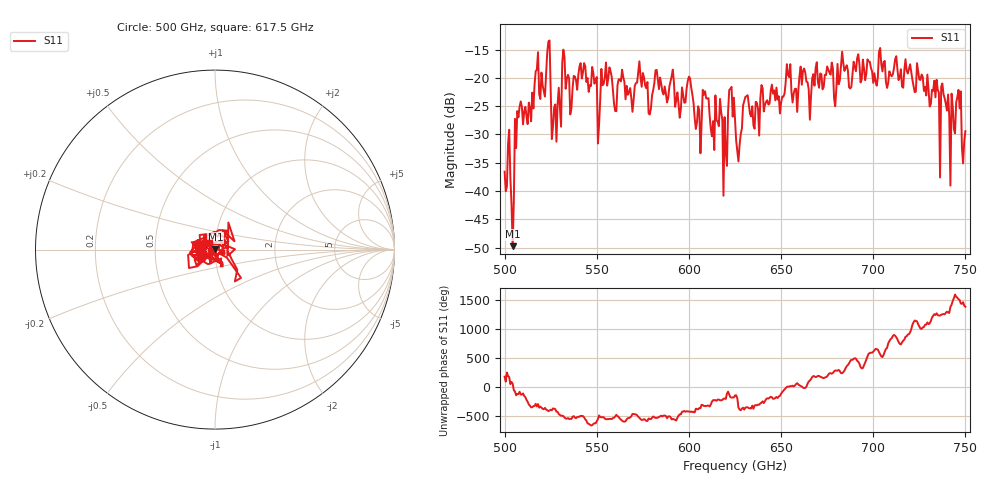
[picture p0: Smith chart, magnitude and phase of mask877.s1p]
!Created with skrf (http://scikit-rf.org).
# GHz S MA R 50.0
!freq magS11 angS11
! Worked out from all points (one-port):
!   401 points, 500 GHz to 750 GHz, reference 50 ohm
!   lowest |S11| = -49.7 dB at 504.4 GHz (marker M1), VSWR 1.01, Z = 50.2 + j0.275 ohm
!   |S11| at or under -10 dB: start of sweep to end of sweep
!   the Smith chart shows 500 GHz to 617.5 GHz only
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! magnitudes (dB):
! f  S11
! 500 GHz  -36.6
! 504.4 GHz  -49.7
! 508.1 GHz  -25.1
! 523.8 GHz  -13.6
! 526.9 GHz  -25.2
! 531.2 GHz  -17.4
! 548.8 GHz  -21.0
! 550.6 GHz  -31.6
! 553.8 GHz  -21.1
! 562.5 GHz  -20.3
! 579.4 GHz  -25.4
! 590.6 GHz  -19.7
! 593.8 GHz  -22.6
! 600 GHz  -19.8
! 605 GHz  -25.0
! 608.8 GHz  -22.4
! 619.4 GHz  -26.9
! 622.5 GHz  -21.9
! 625 GHz  -27.4
! 626.9 GHz  -34.8
! 630.6 GHz  -23.4
! 656.2 GHz  -24.4
! 687.5 GHz  -21.9
! 718.8 GHz  -19.2
! 738.1 GHz  -22.9
! 743.1 GHz  -25.1
! 746.2 GHz  -22.1
! 750 GHz  -29.4
